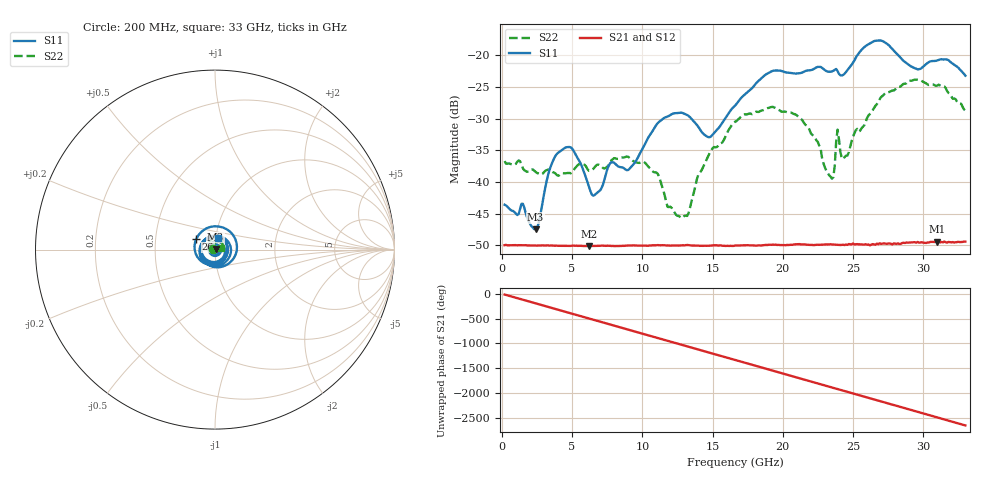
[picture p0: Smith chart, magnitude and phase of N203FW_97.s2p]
# GHZ S RI R 50
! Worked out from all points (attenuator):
!   329 points, 200 MHz to 33 GHz, reference 50 ohm
!   highest |S21| = -49.39 dB at 31 GHz (marker M1); lowest = -50.1 dB at 6.2 GHz (marker M2)
!   lowest |S11| = -47.5 dB at 2.4 GHz (marker M3), VSWR 1.01, Z = 50.3 + j0.313 ohm
!   |S11| at or under -10 dB: start of sweep to end of sweep
!   |S22| runs from -45.7 to -23.8 dB; largest |S21 - S12| = 8.8e-05
!   S11 on the Smith chart (normalised r, x): 200 MHz: 1.01, +0.00; 26 GHz: 0.81, +0.10; 33 GHz: 1.03, +0.14
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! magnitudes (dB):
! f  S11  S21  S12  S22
! 200 MHz  -43.6  -50.0  -49.9  -36.7
! 1.5 GHz  -43.4  -50.0  -50.0  -37.8
! 2.4 GHz  -47.5  -50.0  -50.0  -38.4
! 3.9 GHz  -35.6  -50.0  -50.1  -38.9
! 5.7 GHz  -37.5  -50.1  -50.1  -37.2
! 6.2 GHz  -40.7  -50.1  -50.1  -38.2
! 7.8 GHz  -36.9  -50.1  -50.1  -36.6
! 9 GHz  -38.1  -50.0  -50.0  -36.0
! 11.2 GHz  -30.5  -50.0  -50.0  -39.2
! 11.8 GHz  -29.7  -50.0  -50.0  -43.9
! 13.2 GHz  -29.4  -49.9  -49.9  -45.4
! 14.8 GHz  -32.9  -50.0  -50.0  -35.4
! 16.6 GHz  -28.0  -50.0  -50.0  -30.5
! 19.3 GHz  -22.5  -49.9  -49.9  -28.1
! 22.1 GHz  -22.3  -49.9  -49.9  -32.5
! 23.5 GHz  -22.5  -49.9  -49.8  -39.5
! 23.9 GHz  -22.5  -49.9  -49.9  -31.7
! 24.3 GHz  -23.1  -49.9  -49.8  -36.4
! 26 GHz  -18.4  -49.9  -49.8  -29.9
! 27.6 GHz  -18.5  -49.7  -49.7  -25.8
! 31 GHz  -20.8  -49.4  -49.4  -24.8
! 33 GHz  -23.2  -49.4  -49.4  -28.8
